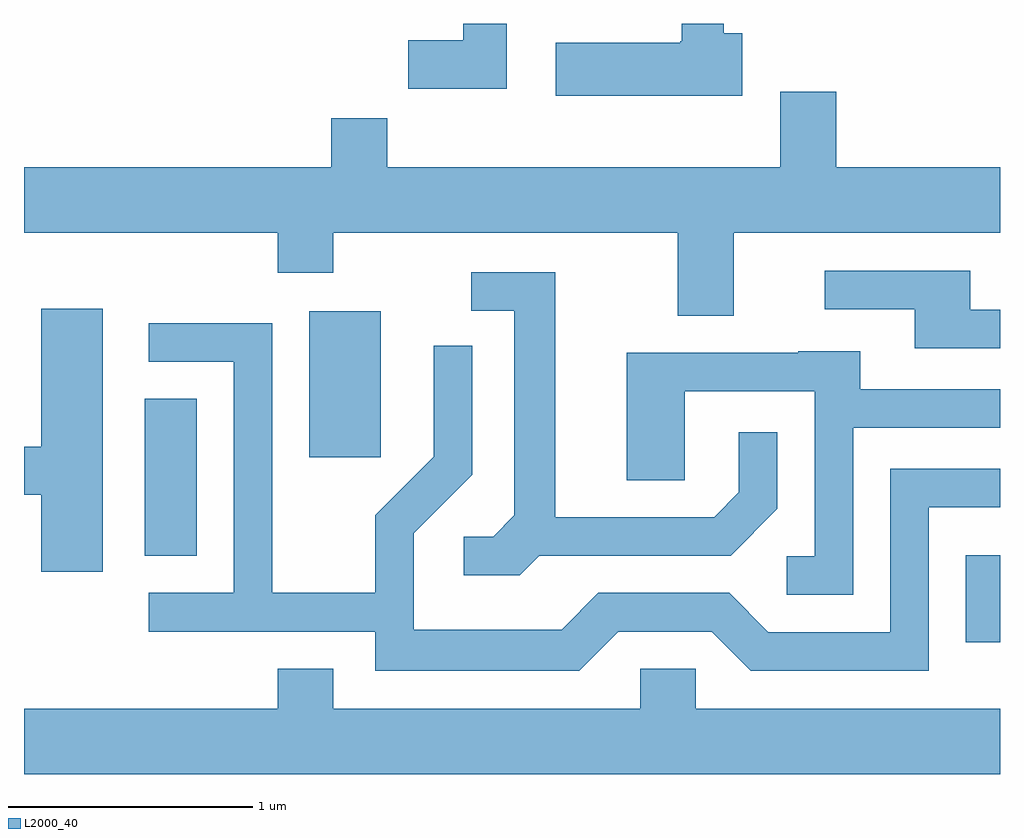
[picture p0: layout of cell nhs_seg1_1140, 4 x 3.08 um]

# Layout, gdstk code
import gdstk
lib = gdstk.Library(unit=1e-6, precision=1e-09)
def R(c, l, rs):  # rectangles x0, y0, x1, y1
    for r in rs: c.add(gdstk.rectangle(r[:2], r[2:], *l))
def P(c, l, *ps):  # polygons
    for p in ps: c.add(gdstk.Polygon(p, *l))
L2000_40 = (2000, 40)

nhs_seg1_1140 = lib.new_cell('nhs_seg1_1140')
R(nhs_seg1_1140, L2000_40, [(223.471,951.178,223.611,951.534), (220.106,951.531,220.319,952.174), (220.781,951.936,221.074,952.534)])
P(nhs_seg1_1140, L2000_40, [(222.554,953.674),(222.479,953.674),(222.479,953.712),(222.306,953.712),(222.306,953.64),(222.3,953.64),(222.3,953.634),(221.791,953.634),(221.791,953.416),(222.554,953.416)],
  [(221.589,953.712),(221.411,953.712),(221.411,953.644),(221.186,953.644),(221.186,953.446),(221.589,953.446)],
  [(222.519,952.856),(223.611,952.856),(223.611,953.124),(222.939,953.124),(222.939,953.434),(222.711,953.434),(222.711,953.124),(221.099,953.124),(221.099,953.324),(220.871,953.324),(220.871,953.124),(219.611,953.124),(219.611,952.856),(220.651,952.856),(220.651,952.691),(220.879,952.691),(220.879,952.856),(222.291,952.856),(222.291,952.516),(222.519,952.516)],
  [(223.611,952.539),(223.489,952.539),(223.489,952.699),(222.893,952.699),(222.893,952.541),(223.261,952.541),(223.261,952.381),(223.611,952.381)],
  [(221.722,951.531),(222.507,951.531),(222.699,951.724),(222.699,952.038),(222.541,952.038),(222.541,951.792),(222.439,951.689),(221.789,951.689),(221.789,952.694),(221.443,952.694),(221.443,952.536),(221.621,952.536),(221.621,951.697),(221.534,951.609),(221.413,951.609),(221.413,951.451),(221.642,951.451)],
  [(219.934,952.544),(219.681,952.544),(219.681,951.979),(219.611,951.979),(219.611,951.781),(219.681,951.781),(219.681,951.466),(219.934,951.466)],
  [(222.047,951.221),(222.429,951.221),(222.589,951.061),(223.319,951.061),(223.319,951.731),(223.611,951.731),(223.611,951.889),(223.161,951.889),(223.161,951.219),(222.662,951.219),(222.502,951.379),(221.964,951.379),(221.814,951.229),(221.209,951.229),(221.209,951.624),(221.449,951.864),(221.449,952.393),(221.291,952.393),(221.291,951.937),(221.051,951.697),(221.051,951.379),(220.629,951.379),(220.629,952.484),(220.123,952.484),(220.123,952.326),(220.471,952.326),(220.471,951.379),(220.123,951.379),(220.123,951.221),(221.051,951.221),(221.051,951.061),(221.887,951.061)],
  [(223.009,952.056),(223.611,952.056),(223.611,952.214),(223.039,952.214),(223.039,952.369),(222.785,952.369),(222.785,952.364),(222.081,952.364),(222.081,951.841),(222.319,951.841),(222.319,952.206),(222.851,952.206),(222.851,951.529),(222.738,951.529),(222.738,951.371),(223.009,951.371)],
  [(223.611,950.904),(222.364,950.904),(222.364,951.069),(222.136,951.069),(222.136,950.904),(220.879,950.904),(220.879,951.069),(220.651,951.069),(220.651,950.904),(219.611,950.904),(219.611,950.636),(223.611,950.636)])

lib.write_gds('nhs_seg1_1140.gds')
